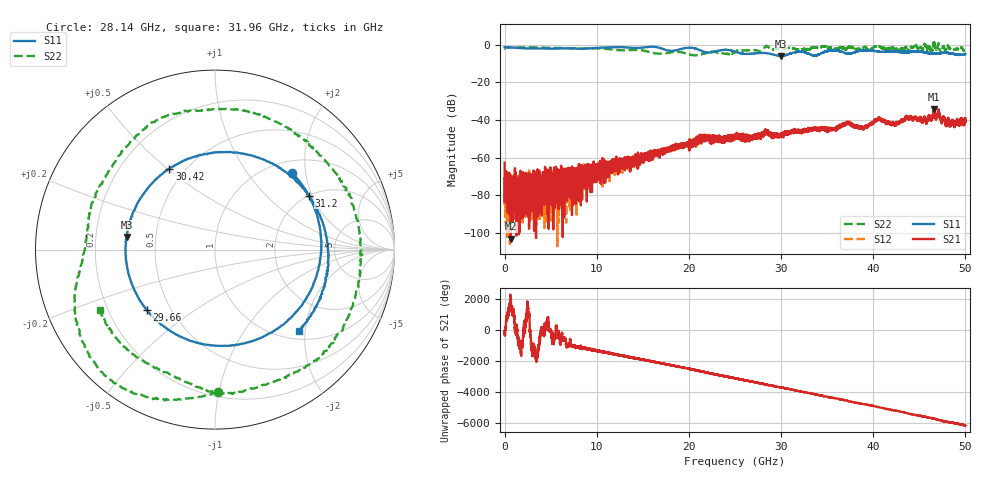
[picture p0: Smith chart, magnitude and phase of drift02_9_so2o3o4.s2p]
!Created with skrf (http://scikit-rf.org).
# Hz S RI R 50.0
!freq ReS11 ImS11 ReS21 ImS21 ReS12 ImS12 ReS22 ImS22
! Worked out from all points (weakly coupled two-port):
!   10001 points, 300 kHz to 50 GHz, reference 50 ohm
!   highest |S21| = -34.08 dB at 46.6 GHz (marker M1); lowest = -103.0 dB at 675.3 MHz (marker M2)
!   lowest |S11| = -6.1 dB at 30.03 GHz (marker M3), VSWR 2.98, Z = 16.9 + j3.13 ohm
!   |S11| at or under -10 dB: nowhere
!   |S22| runs from -5.7 to 2.3 dB; largest |S21 - S12| = 0.0031
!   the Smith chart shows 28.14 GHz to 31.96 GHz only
!   S11 on the Smith chart (normalised r, x): 28.14 GHz: 1.25, +1.69; 29.66 GHz: 0.37, -0.33; 30.42 GHz: 0.41, +0.51; 31.2 GHz: 2.00, +1.89; 31.96 GHz: 1.18, -1.86
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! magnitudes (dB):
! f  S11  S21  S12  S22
! 300 kHz  -1.3  -62.6  -70.4  -2.1
! 255.3 MHz  -1.4  -72.6  -83.5  -1.4
! 675.3 MHz  -1.4  -103.0  -74.4  -1.5
! 4.365 GHz  -2.0  -73.4  -84.3  -1.6
! 8.335 GHz  -2.2  -67.0  -67.9  -1.9
! 16.67 GHz  -1.5  -56.9  -56.8  -4.8
! 21.4 GHz  -3.3  -48.7  -49.1  -5.0
! 25 GHz  -3.7  -49.4  -49.7  -3.9
! 28.14 GHz  -4.4  -47.2  -48.0  -2.0
! 29.66 GHz  -5.9  -48.9  -48.7  -2.1
! 30.03 GHz  -6.1  -48.3  -47.6  -2.1
! 30.42 GHz  -5.7  -47.8  -47.5  -1.9
! 31.2 GHz  -4.4  -45.8  -46.5  -1.8
! 31.96 GHz  -3.7  -45.9  -46.0  -2.8
! 33.34 GHz  -5.5  -45.7  -44.9  -1.6
! 37.22 GHz  -4.7  -40.9  -41.6  -1.7
! 38.84 GHz  -3.1  -44.3  -43.7  -1.2
! 40.62 GHz  -3.7  -39.0  -39.2  -0.9
! 41.67 GHz  -3.6  -41.0  -40.9  -1.8
! 46.6 GHz  -4.7  -34.1  -34.9  1.8
! 48.54 GHz  -4.7  -41.3  -41.2  -1.5
! 50 GHz  -5.0  -39.0  -39.3  -2.6
